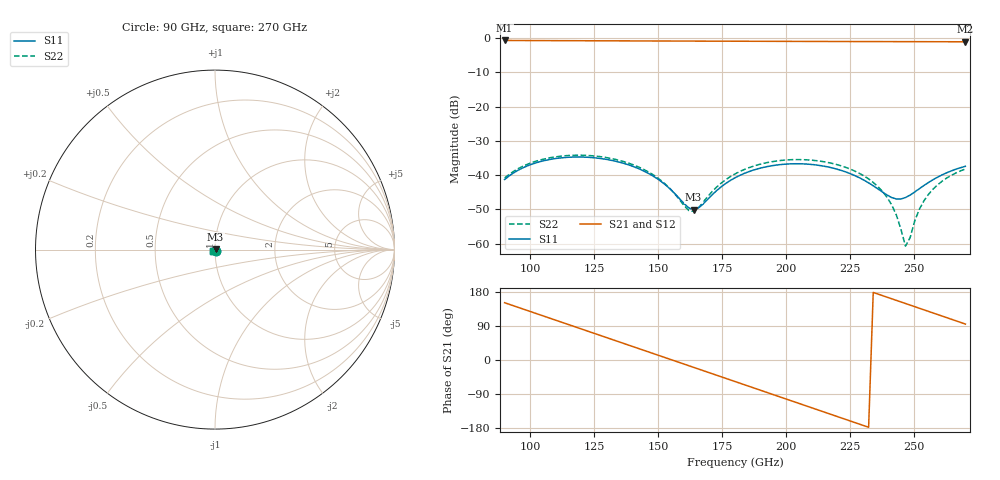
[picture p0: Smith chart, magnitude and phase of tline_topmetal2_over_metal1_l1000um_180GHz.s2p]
#  GHZ S DB R 50
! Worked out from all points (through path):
!   101 points, 90 GHz to 270 GHz, reference 50 ohm
!   highest |S21| = -0.67 dB at 90 GHz (marker M1); lowest = -1.1 dB at 270 GHz (marker M2)
!   group delay of S21, straight-line fit = 6.42 ps
!   lowest |S11| = -50.1 dB at 163.8 GHz (marker M3), VSWR 1.01, Z = 50.3 + j0.137 ohm
!   |S11| at or under -10 dB: start of sweep to end of sweep
!   |S22| runs from -60.7 to -34.2 dB; largest |S21 - S12| = 1.6e-13
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90  -41.29 -39.5  -0.67 151.1  -0.67 151.1  -40.84 -39.4
106.2  -35.65 -91.8  -0.72 113.7  -0.72 113.7  -35.16 -90.5
120.6  -34.73 -133.9  -0.76 80.5  -0.76 80.5  -34.20 -131.6
136.8  -36.62 177.7  -0.80 43.1  -0.80 43.1  -36.11 -178.6
151.2  -41.88 127.0  -0.83 9.8  -0.83 9.8  -41.61 132.7
162  -49.58 49.4  -0.86 -15.2  -0.86 -15.2  -50.33 50.2
163.8  -50.10 25.8  -0.86 -19.3  -0.86 -19.3  -50.61 22.9
172.8  -44.54 -58.3  -0.88 -40.1  -0.88 -40.1  -43.50 -58.5
180  -40.78 -90.3  -0.90 -56.8  -0.90 -56.8  -39.65 -87.3
194.4  -37.26 -138.2  -0.93 -90.1  -0.93 -90.1  -36.08 -131.5
210.6  -36.94 172.2  -0.96 -127.6  -0.96 -127.6  -35.68 -176.5
221.4  -38.60 137.1  -0.98 -152.5  -0.98 -152.5  -37.27 154.0
230.4  -41.48 102.4  -1.00 -173.4  -1.00 -173.4  -40.24 128.8
235.8  -44.01 74.5  -1.00 174.1  -1.00 174.1  -43.33 112.4
241.2  -46.54 33.7  -1.01 161.6  -1.01 161.6  -48.67 91.9
243  -46.96 16.5  -1.02 157.4  -1.02 157.4  -51.60 81.5
246.6  -46.56 -18.6  -1.02 149.1  -1.02 149.1  -60.75 18.4
248.4  -45.83 -34.3  -1.03 144.9  -1.03 144.9  -58.28 -46.9
252  -43.97 -60.0  -1.03 136.6  -1.03 136.6  -49.99 -86.2
255.6  -42.14 -79.7  -1.04 128.2  -1.04 128.2  -45.61 -102.0
261  -39.89 -103.1  -1.05 115.7  -1.05 115.7  -41.73 -119.5
270  -37.43 -134.5  -1.06 94.9  -1.06 94.9  -38.21 -144.9
